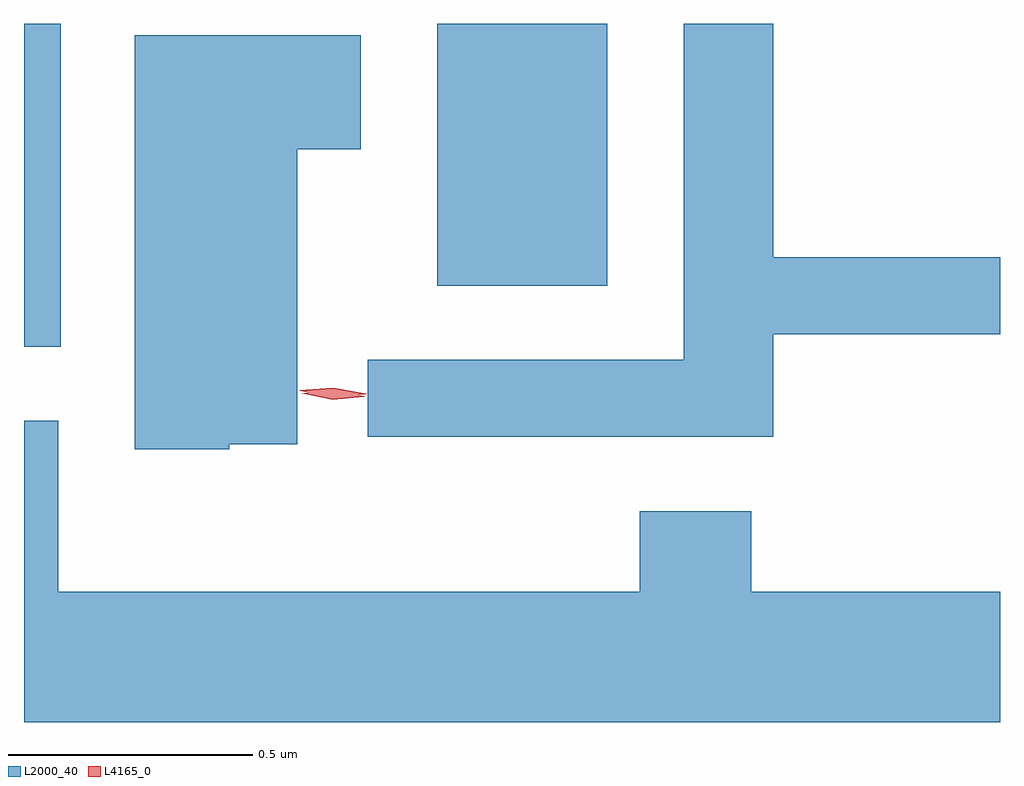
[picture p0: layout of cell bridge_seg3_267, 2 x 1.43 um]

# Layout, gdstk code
import gdstk
lib = gdstk.Library(unit=1e-6, precision=1e-09)
def R(c, l, rs):  # rectangles x0, y0, x1, y1
    for r in rs: c.add(gdstk.rectangle(r[:2], r[2:], *l))
def P(c, l, *ps):  # polygons
    for p in ps: c.add(gdstk.Polygon(p, *l))
L2000_40 = (2000, 40)
L4165_0 = (4165, 0)

bridge_seg3_267 = lib.new_cell('bridge_seg3_267')
R(bridge_seg3_267, L2000_40, [(1024.999,1137.886,1025.074,1138.548), (1025.846,1138.011,1026.194,1138.548)])
P(bridge_seg3_267, L2000_40, [(1026.534,1137.911),(1026.999,1137.911),(1026.999,1138.069),(1026.534,1138.069),(1026.534,1138.548),(1026.351,1138.548),(1026.351,1137.859),(1025.703,1137.859),(1025.703,1137.701),(1026.534,1137.701)],
  [(1025.42,1137.686),(1025.559,1137.686),(1025.559,1138.291),(1025.689,1138.291),(1025.689,1138.524),(1025.226,1138.524),(1025.226,1137.676),(1025.42,1137.676)],
  [(1026.999,1137.384),(1026.489,1137.384),(1026.489,1137.549),(1026.261,1137.549),(1026.261,1137.384),(1025.069,1137.384),(1025.069,1137.734),(1024.999,1137.734),(1024.999,1137.116),(1026.999,1137.116)])
P(bridge_seg3_267, L4165_0, [(1025.632,1137.777),(1025.568,1137.79),(1025.568,1137.79),(1025.568,1137.79),(1025.632,1137.797),(1025.696,1137.784),(1025.697,1137.784),(1025.696,1137.783)],
  [(1025.631,1137.783),(1025.564,1137.796),(1025.564,1137.796),(1025.564,1137.797),(1025.633,1137.802),(1025.7,1137.789),(1025.7,1137.789),(1025.7,1137.788)])

lib.write_gds('bridge_seg3_267.gds')
